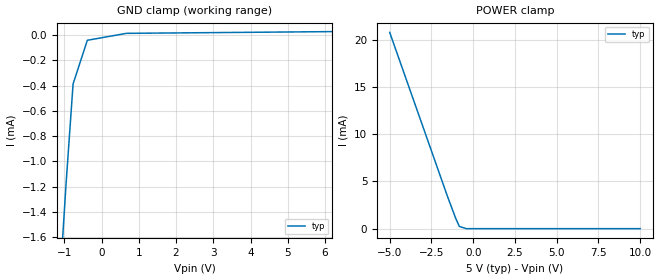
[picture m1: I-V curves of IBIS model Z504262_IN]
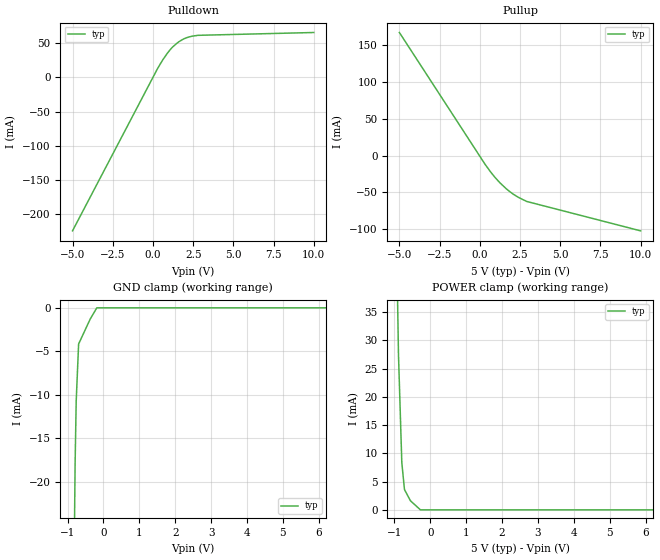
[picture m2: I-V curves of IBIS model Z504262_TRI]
| YOU ARE ONLY AUTHORIZED TO USE THIS SOFTWARE
| ACCORDING TO LICENSOR'S LICENSE RESTRICTIONS.
[IBIS Ver] 3.1
[File Name] mc74hc573adw.ibs
[File Rev] 2.0
[Source] Measured and created by ICX Technology
[Date] Friday 7/14/00 9:08:10 AM
[Copyright]
| (C) COPYRIGHT 1993-2000
| MENTOR GRAPHICS CORPORATION
| ICX STANDARD LIBRARY, ICX PROJECT MODELING,
| ICX CUSTOM MODELING, ICX VENDOR MODEL
| ALL RIGHTS RESERVED.
| THE FOLLOWING ARE TRADEMARKS OR SERVICE MARKS OF
| MENTOR GRAPHICS CORPORATION:ICX (R), ICX STANDARD
| LIBRARY(R), ICX PROJECT MODELING(R), ICX CUSTOM
| MODELING(R), qualityIBIS(TM), MODELVIEWER(TM),
| AND MODELEDITOR(TM)
| ALL COPIES OF SOFTWARE, INCLUDING BUT NOT LIMITED TO
| ANY MODIFICATIONS, ENHANCEMENTS OR DERIVATIVE WORKS,
| MUST CONTAIN ALL MENTOR GRAPHICS CORPORATION'S
| NOTICES AND LEGENDS, INCLUDING THOSE EMBEDDED IN
| SOFTWARE AND THOSE AFFIXED TO SOFTWARE MEDIUM
| AND CONTAINER, AS RECEIVED FROM MENTOR GRAPHICS
| CORPORATION.
|  ZAP Model Builder 2.7
[Component] MC74HC573ADW
[Manufacturer] OnSemiconductor
[Package]
| variable   typ   min   max
R_pkg  .178ohms NA NA
L_pkg  4.43nH NA NA
C_pkg  .62pF NA NA
[Pin] signal_name  model_name  R_pin  L_pin C_pin
1 _EN Z504262_IN .186 5.37n .68p
2 D0 Z504262_IN .182 4.89n .65p
3 D1 Z504262_IN .178 4.42n .62p
4 D2 Z504262_IN .174 3.96n .59p
5 D3 Z504262_IN .17 3.51n .56p
6 D4 Z504262_IN .17 3.51n .56p
7 D5 Z504262_IN .174 3.96n .59p
8 D6 Z504262_IN .178 4.42n .62p
9 D7 Z504262_IN .182 4.89n .65p
10 GND GND .186 5.37n .68p
11 CLK Z504262_IN .186 5.37n .68p
12 Q7 Z504262_TRI .182 4.89n .65p
13 Q6 Z504262_TRI .178 4.42n .62p
14 Q5 Z504262_TRI .174 3.96n .59p
15 Q4 Z504262_TRI .17 3.51n .56p
16 Q3 Z504262_TRI .17 3.51n .56p
17 Q2 Z504262_TRI .174 3.96n .59p
18 Q1 Z504262_TRI .178 4.42n .62p
19 Q0 Z504262_TRI .182 4.89n .65p
20 VCC POWER .186 5.37n .68p
| Models and submodels in the file (2): Z504262_IN (Input), Z504262_TRI (3-state)
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| (C) COPYRIGHT 1993-2000
| MENTOR GRAPHICS CORPORATION
| ICX STANDARD LIBRARY, ICX PROJECT MODELING,
| ICX CUSTOM MODELING, ICX VENDOR MODEL
| ALL RIGHTS RESERVED.
| THE FOLLOWING ARE TRADEMARKS OR SERVICE MARKS OF
| MENTOR GRAPHICS CORPORATION:ICX (R), ICX STANDARD
| LIBRARY(R), ICX PROJECT MODELING(R), ICX CUSTOM
| MODELING(R), qualityIBIS(TM), MODELVIEWER(TM),
| AND MODELEDITOR(TM)
| ALL COPIES OF SOFTWARE, INCLUDING BUT NOT LIMITED TO
| ANY MODIFICATIONS, ENHANCEMENTS OR DERIVATIVE WORKS,
| MUST CONTAIN ALL MENTOR GRAPHICS CORPORATION'S
| NOTICES AND LEGENDS, INCLUDING THOSE EMBEDDED IN
| SOFTWARE AND THOSE AFFIXED TO SOFTWARE MEDIUM
| AND CONTAINER, AS RECEIVED FROM MENTOR GRAPHICS
| CORPORATION.
| Model Application Version 1.89 2/18/99.
[Model] Z504262_IN
Model_type Input
Vinl = 1.000V
Vinh = 3.500V
C_comp 4.000pF NA NA
| variable typ   min   max
[Voltage Range] 5.000V NA NA
[GND Clamp Reference] 0.000V NA NA
[POWER Clamp Reference] 5.000V NA NA
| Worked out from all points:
|   GND clamp passes 1 mA (typ) near -0.91 V on its own axis
|   POWER clamp passes 1 mA (typ) near -1.02 V on its own axis
[GND Clamp]
-5V       -21.16mA   NA         NA
-1.338V   -2.977mA   NA         NA
-957mV    -1.191mA   NA         NA
-765.6mV  -387.8uA   NA         NA
-382.8mV  -42.01uA   NA         NA
667.6mV   12.87uA    NA         NA
10V       36.11uA    NA         NA
[POWER Clamp]
-5V       20.8mA     NA         NA
-1.533V   3.382mA    NA         NA
-1.059V   1.145mA    NA         NA
-829mV    234.2uA    NA         NA
-414.5mV  0A         NA         NA
10V       0A         NA         NA
| (C) COPYRIGHT 1993-2000
| MENTOR GRAPHICS CORPORATION
| ICX STANDARD LIBRARY, ICX PROJECT MODELING,
| ICX CUSTOM MODELING, ICX VENDOR MODEL
| ALL RIGHTS RESERVED.
| THE FOLLOWING ARE TRADEMARKS OR SERVICE MARKS OF
| MENTOR GRAPHICS CORPORATION:ICX (R), ICX STANDARD
| LIBRARY(R), ICX PROJECT MODELING(R), ICX CUSTOM
| MODELING(R), qualityIBIS(TM), MODELVIEWER(TM),
| AND MODELEDITOR(TM)
| ALL COPIES OF SOFTWARE, INCLUDING BUT NOT LIMITED TO
| ANY MODIFICATIONS, ENHANCEMENTS OR DERIVATIVE WORKS,
| MUST CONTAIN ALL MENTOR GRAPHICS CORPORATION'S
| NOTICES AND LEGENDS, INCLUDING THOSE EMBEDDED IN
| SOFTWARE AND THOSE AFFIXED TO SOFTWARE MEDIUM
| AND CONTAINER, AS RECEIVED FROM MENTOR GRAPHICS
| CORPORATION.
| Model Application Version 1.89 2/18/99.
[Model] Z504262_TRI
Model_type 3-state
Vref=0.000V
Rref=500.0Mohms
Cref=50.00pF
Vmeas=2.500V
C_comp 8.000pF NA NA
| variable typ   min   max
[Voltage Range] 5.000V NA NA
[POWER Clamp Reference] 5.000V NA NA
[Pullup Reference] 5.000V NA NA
[Pulldown Reference] 0.000V NA NA
[GND Clamp Reference] 0.000V NA NA
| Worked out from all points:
|   slope of the pulldown table from 0 to 0.75 V, typ, clamps not added: 24.7 ohm
|   slope of the pullup table from 0 to 0.75 V, typ, clamps not added: 31.9 ohm
|   GND clamp passes 1 mA (typ) near -0.33 V on its own axis
[GND Clamp]
-5V       -1.732A    NA         NA
-790.9mV  -17.88mA   NA         NA
-760.9mV  -10.74mA   NA         NA
-693.3mV  -4.161mA   NA         NA
-370.9mV  -1.301mA   NA         NA
-185.5mV  0A         NA         NA
10V       0A         NA         NA
[Pulldown]
-5V       -224.8mA   NA         NA
293mV     13.26mA    NA         NA
904.4mV   35.72mA    NA         NA
1.216V    44.41mA    NA         NA
1.509V    50.51mA    NA         NA
2.1V      58.31mA    NA         NA
2.773V    61.74mA    NA         NA
10V       65.9mA     NA         NA
[Pullup]
-5V       167.5mA    NA         NA
332mV     -12.14mA   NA         NA
913mV     -28.97mA   NA         NA
1.65V     -45.36mA   NA         NA
2.295V    -55.62mA   NA         NA
2.908V    -62.51mA   NA         NA
10V       -102.6mA   NA         NA
[POWER Clamp]
-5V       1.6A       NA         NA
-889mV    27.5mA     NA         NA
-796mV    8.354mA    NA         NA
-722mV    3.597mA    NA         NA
-554mV    1.597mA    NA         NA
-277mV    0A         NA         NA
10V       0A         NA         NA
[Ramp]
| variable typ min max
dV/dt_r 2.849/1.199n NA NA
dV/dt_f 2.849/1.019n NA NA
R_load = 500.0Ohms
